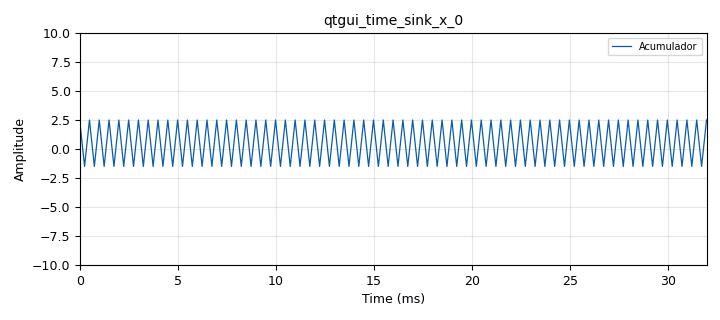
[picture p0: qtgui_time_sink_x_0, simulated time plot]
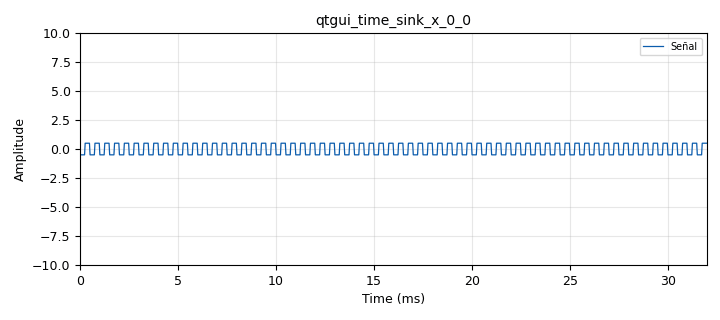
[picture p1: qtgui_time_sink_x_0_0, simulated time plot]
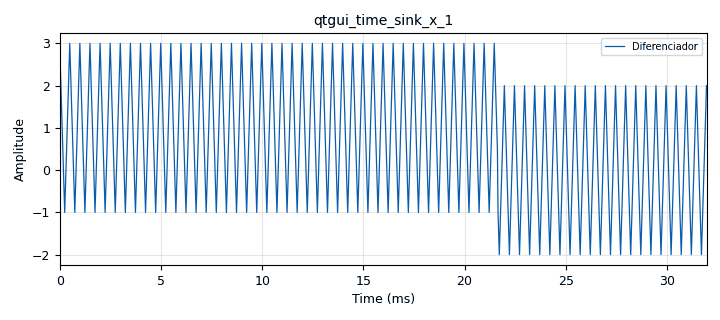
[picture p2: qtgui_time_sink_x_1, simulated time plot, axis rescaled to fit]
options:
  parameters:
    generate_options: qt_gui
    id: Acum_dif
    output_language: python
    title: Not titled yet
  states: {}

blocks:
- name: samp_rate
  id: variable
  parameters:
    value: '32000'
  states: {}
- name: analog_sig_source_x_0
  id: analog_sig_source_x
  parameters:
    amp: '1'
    freq: '2000'
    offset: '-0.5'
    phase: '0'
    samp_rate: samp_rate
    type: float
    waveform: analog.GR_SQR_WAVE
  states: {}
- name: epy_block_0
  id: epy_block
  parameters:
    _source_code: |
      """
      Embedded Python Blocks:

      Each time this file is saved, GRC will instantiate the first class it finds
      to get ports and parameters of your block. The arguments to __init__  will
      be the parameters. All of them are required to have default values!
      """

      import numpy as np
      from gnuradio import gr

      class blk(gr.sync_block):
          def __init__(self):
              gr.sync_block.__init__(
                  self,
                  name='e_Acum',  # Nombre del bloque en GRC
                  in_sig=[np.float32],
                  out_sig=[np.float32]
              )

          def work(self, input_items, output_items):
              x = input_items[0]  # Señal de entrada
              y0 = output_items[0]  # Señal acumulada

              # Calcular la suma acumulada de la señal
              y0[:] = np.cumsum(x)

              return len(y0)
  states: {}
- name: epy_block_1
  id: epy_block
  parameters:
    _source_code: |
      """
      Embedded Python Blocks:

      Each time this file is saved, GRC will instantiate the first class it finds
      to get ports and parameters of your block. The arguments to __init__  will
      be the parameters. All of them are required to have default values!
      """

      import numpy as np
      from gnuradio import gr
      class blk (gr. sync_block ):
      	def __init__ ( self ) : # only default arguments here
      		gr. sync_block . __init__ (
      		self ,
      		name ='e_Diff', # will show up in GRC
      		in_sig =[ np. float32 ],
      		out_sig =[ np. float32 ]
      		
      		)
      		self . acum_anterior = 0
      	def work (self , input_items , output_items ):
      		x = input_items [0] # Senial de entrada .
      		y0 = output_items [0] # Senial acumulada diferencial
      		N = len (x)
      		diff = np. cumsum (x) - self . acum_anterior
      		self . acum_anterior = diff [N -1]
      		y0 [:] = diff
      		return len (y0)
  states: {}
- name: qtgui_time_sink_x_0
  id: qtgui_time_sink_x
  parameters:
    label1: Acumulador
    size: '1024'
    srate: samp_rate
    type: float
    ymax: '10'
    ymin: '-10'
  states: {}
- name: qtgui_time_sink_x_0_0
  id: qtgui_time_sink_x
  parameters:
    label1: Señal
    size: '1024'
    srate: samp_rate
    type: float
    ymax: '10'
    ymin: '-10'
  states: {}
- name: qtgui_time_sink_x_1
  id: qtgui_time_sink_x
  parameters:
    label1: Diferenciador
    size: '1024'
    srate: samp_rate
    type: float
    ymax: '500'
    ymin: '-500'
  states: {}

connections:
- [analog_sig_source_x_0, '0', epy_block_0, '0']
- [analog_sig_source_x_0, '0', epy_block_1, '0']
- [analog_sig_source_x_0, '0', qtgui_time_sink_x_0_0, '0']
- [epy_block_0, '0', qtgui_time_sink_x_0, '0']
- [epy_block_1, '0', qtgui_time_sink_x_1, '0']

metadata:
  file_format: 1
  grc_version: 3.9.8.0
